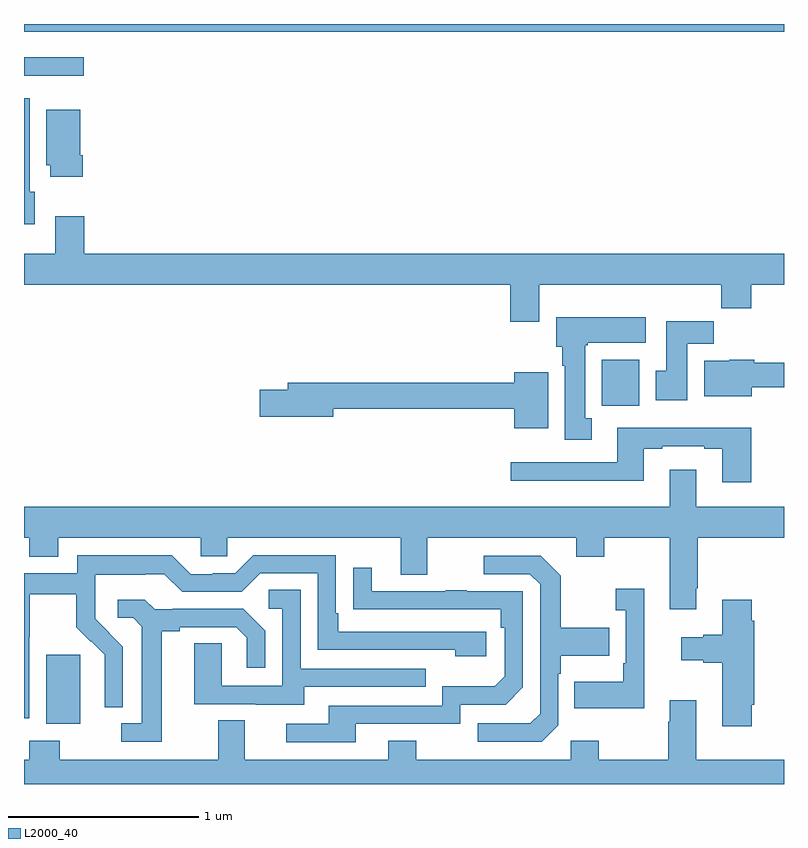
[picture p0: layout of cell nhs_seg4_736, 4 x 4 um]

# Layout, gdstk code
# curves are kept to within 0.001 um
import gdstk
lib = gdstk.Library(unit=1e-6, precision=1e-09)
def R(c, l, rs):  # rectangles x0, y0, x1, y1
    for r in rs: c.add(gdstk.rectangle(r[:2], r[2:], *l))
def P(c, l, *ps):  # polygons
    for p in ps: c.add(gdstk.Polygon(p, *l))
L2000_40 = (2000, 40)

nhs_seg4_736 = lib.new_cell('nhs_seg4_736')
R(nhs_seg4_736, L2000_40, [(149.117,753.218,149.296,753.579), (152.042,754.892,152.239,755.134), (149,756.627,149.314,756.724), (149,756.86,153,756.9)])
P(nhs_seg4_736, L2000_40, [(149.056,756.018),(149.029,756.018),(149.029,756.508),(149,756.508),(149,755.846),(149.056,755.846)],
  [(149.309,756.208),(149.296,756.208),(149.296,756.448),(149.117,756.448),(149.117,756.156),(149.138,756.156),(149.138,756.096),(149.309,756.096)],
  [(151.711,755.528),(152.671,755.528),(152.671,755.404),(152.828,755.404),(152.828,755.528),(153,755.528),(153,755.692),(149.318,755.692),(149.318,755.887),(149.165,755.887),(149.165,755.692),(149,755.692),(149,755.528),(151.559,755.528),(151.559,755.334),(151.711,755.334)],
  [(151.987,754.826),(151.954,754.826),(151.954,755.209),(151.968,755.209),(151.968,755.222),(152.272,755.222),(152.272,755.356),(151.802,755.356),(151.802,755.202),(151.832,755.202),(151.832,755.102),(151.847,755.102),(151.847,754.713),(151.987,754.713)],
  [(152.491,755.216),(152.63,755.216),(152.63,755.335),(152.381,755.335),(152.381,755.076),(152.324,755.076),(152.324,754.92),(152.491,754.92)],
  [(152.83,754.987),(153,754.987),(153,755.116),(152.843,755.116),(152.843,755.134),(152.712,755.134),(152.712,755.128),(152.579,755.128),(152.579,754.94),(152.83,754.94)],
  [(151.759,755.068),(151.58,755.068),(151.58,755.012),(150.389,755.012),(150.389,754.976),(150.24,754.976),(150.24,754.834),(150.628,754.834),(150.628,754.876),(151.58,754.876),(151.58,754.772),(151.759,754.772)],
  [(152.828,754.774),(152.123,754.774),(152.123,754.593),(151.563,754.593),(151.563,754.496),(152.263,754.496),(152.263,754.665),(152.359,754.665),(152.359,754.677),(152.579,754.677),(152.579,754.665),(152.675,754.665),(152.675,754.488),(152.828,754.488)],
  [(152.539,753.931),(152.547,753.931),(152.547,754.196),(153,754.196),(153,754.36),(152.539,754.36),(152.539,754.555),(152.399,754.555),(152.399,754.36),(149,754.36),(149,754.196),(149.027,754.196),(149.027,754.097),(149.179,754.097),(149.179,754.196),(149.931,754.196),(149.931,754.098),(150.069,754.098),(150.069,754.196),(150.983,754.196),(150.983,754.002),(151.123,754.002),(151.123,754.196),(151.907,754.196),(151.907,754.097),(152.055,754.097),(152.055,754.196),(152.399,754.196),(152.399,753.819),(152.539,753.819)],
  [(149.028,753.247),(149.028,753.676),(149.031,753.676),(149.031,753.9),(149.275,753.9),(149.275,753.725),(149.352,753.648),(149.355,753.651),(149.426,753.581),(149.426,753.458),(149.424,753.458),(149.424,753.304),(149.52,753.304),(149.52,753.622),(149.374,753.77),(149.374,753.867),(149.376,753.867),(149.376,754.001),(149.639,754.001),(149.639,754.005),(149.739,754.005),(149.832,753.912),(150.147,753.912),(150.243,754.008),(150.546,754.008),(150.546,753.606),(151.271,753.606),(151.271,753.572),(151.432,753.572),(151.432,753.702),(150.655,753.702),(150.655,753.799),(150.642,753.799),(150.642,754.104),(150.207,754.104),(150.111,754.008),(149.993,754.008),(149.993,754.005),(149.877,754.005),(149.777,754.105),(149.28,754.105),(149.28,754.008),(149,754.008),(149,753.247)],
  [(151.812,753.21),(151.812,753.479),(151.825,753.479),(151.825,753.575),(152.081,753.575),(152.081,753.723),(151.825,753.723),(151.825,753.995),(151.719,754.101),(151.419,754.101),(151.419,754.005),(151.662,754.005),(151.716,753.951),(151.716,753.27),(151.665,753.219),(151.389,753.219),(151.389,753.123),(151.725,753.123)],
  [(150.745,753.216),(151.296,753.216),(151.296,753.318),(151.536,753.318),(151.626,753.408),(151.626,753.915),(151.331,753.915),(151.331,753.92),(151.219,753.92),(151.219,753.915),(150.829,753.915),(150.829,754.039),(150.733,754.039),(150.733,753.82),(151.51,753.819),(151.51,753.722),(151.53,753.722),(151.53,753.468),(151.477,753.415),(151.2,753.415),(151.2,753.312),(150.605,753.312),(150.605,753.216),(150.381,753.216),(150.381,753.12),(150.745,753.12)],
  [(152.264,753.928),(152.115,753.928),(152.115,753.815),(152.166,753.815),(152.166,753.535),(152.154,753.535),(152.154,753.439),(151.897,753.439),(151.897,753.299),(152.264,753.299)],
  [(150.475,753.411),(151.115,753.411),(151.115,753.507),(150.456,753.507),(150.456,753.923),(150.288,753.923),(150.288,753.822),(150.36,753.822),(150.36,753.417),(150.042,753.417),(150.042,753.641),(149.897,753.641),(149.897,753.321),(150.221,753.321),(150.221,753.317),(150.475,753.317)],
  [(149.725,753.704),(149.821,753.704),(149.821,753.726),(150.116,753.726),(150.173,753.669),(150.173,753.513),(150.27,753.513),(150.27,753.706),(150.154,753.822),(149.782,753.822),(149.782,753.819),(149.688,753.819),(149.636,753.871),(149.493,753.871),(149.493,753.774),(149.574,753.774),(149.621,753.727),(149.621,753.219),(149.511,753.219),(149.511,753.123),(149.725,753.123)],
  [(152.83,753.316),(152.843,753.316),(152.843,753.758),(152.83,753.758),(152.83,753.871),(152.675,753.871),(152.675,753.686),(152.576,753.686),(152.576,753.673),(152.46,753.673),(152.46,753.551),(152.576,753.551),(152.576,753.539),(152.675,753.539),(152.675,753.204),(152.83,753.204)],
  [(153,753.028),(152.539,753.028),(152.539,753.34),(152.399,753.34),(152.399,753.227),(152.392,753.227),(152.392,753.028),(152.025,753.028),(152.025,753.127),(151.878,753.127),(151.878,753.028),(151.065,753.028),(151.065,753.127),(150.917,753.127),(150.917,753.028),(150.163,753.028),(150.163,753.236),(150.023,753.236),(150.023,753.028),(149.187,753.028),(149.187,753.127),(149.027,753.127),(149.027,753.028),(149,753.028),(149,752.9),(153,752.9)])

lib.write_gds('nhs_seg4_736.gds')
